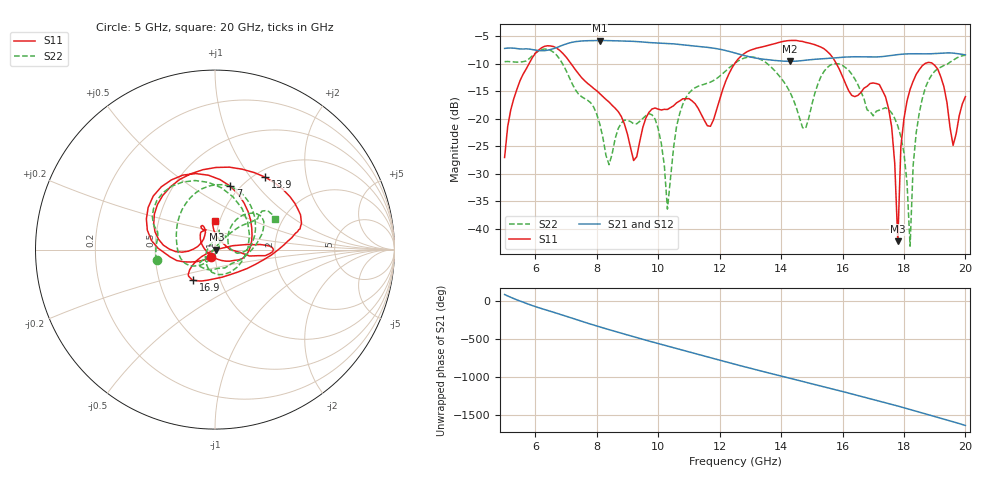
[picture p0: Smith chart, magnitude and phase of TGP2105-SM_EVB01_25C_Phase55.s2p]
! Date: Wednesday, June 05, 2013  1:52 PM
! Filename: C:\Data\Mike_Arnold\TGP2105-SM\Over_Temp\TGP2105-SM_EVB01_25C_Phase55.s2p
! Comments:
!^VDC(V):5.000
!^VDC(mA):0.105
!%Freq(GHz),S11(dB),S11(ang),S21(dB),S21(ang),S12(dB),S12(ang),S22(dB),S22(ang)
# GHz  S  DB  R  50
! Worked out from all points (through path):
!   151 points, 5 GHz to 20 GHz, reference 50 ohm
!   highest |S21| = -5.79 dB at 8.1 GHz (marker M1); lowest = -9.6 dB at 14.3 GHz (marker M2)
!   lowest |S11| = -42.3 dB at 17.8 GHz (marker M3), VSWR 1.02, Z = 50.8 + j0.0292 ohm
!   |S11| at or under -10 dB: 7.162 GHz to 12.49 GHz (5.327 GHz wide, 54.2 % of centre); 15.8 GHz to 18.68 GHz (2.882 GHz wide, 16.7 % of centre); 18.93 GHz to end of sweep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
!   |S22| runs from -43.2 to -7.3 dB; largest |S21 - S12| = 0.0021
!   S11 on the Smith chart (normalised r, x): 5 GHz: 0.96, -0.08; 7 GHz: 0.90, +0.73; 13.9 GHz: 1.11, +1.18; 16.9 GHz: 0.75, -0.27; 20 GHz: 0.95, +0.31
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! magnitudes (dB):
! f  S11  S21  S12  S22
! 5 GHz  -27.1  -7.2  -7.2  -9.6
! 5.9 GHz  -8.9  -7.4  -7.5  -8.6
! 7 GHz  -8.8  -6.4  -6.4  -11.2
! 7.5 GHz  -12.5  -5.9  -5.9  -16.0
! 8.1 GHz  -15.5  -5.8  -5.8  -21.0
! 9.2 GHz  -27.6  -5.9  -6.0  -20.9
! 10 GHz  -18.3  -6.3  -6.3  -21.9
! 10.3 GHz  -18.3  -6.3  -6.4  -36.5
! 10.8 GHz  -16.4  -6.6  -6.6  -17.4
! 12.5 GHz  -9.9  -8.1  -8.1  -9.9
! 13.9 GHz  -6.2  -9.5  -9.5  -12.0
! 14.3 GHz  -5.8  -9.6  -9.6  -15.3
! 15 GHz  -6.4  -9.2  -9.3  -17.5
! 16.9 GHz  -13.6  -8.8  -8.8  -18.7
! 17.5 GHz  -18.2  -8.6  -8.6  -18.3
! 17.8 GHz  -42.3  -8.3  -8.4  -21.3
! 17.9 GHz  -25.1  -8.3  -8.3  -23.3
! 18.2 GHz  -14.7  -8.2  -8.2  -43.2
! 18.4 GHz  -11.9  -8.2  -8.2  -22.5
! 18.7 GHz  -9.9  -8.2  -8.2  -14.3
! 19.6 GHz  -24.9  -8.1  -8.1  -9.4
! 20 GHz  -16.0  -8.4  -8.4  -8.5
